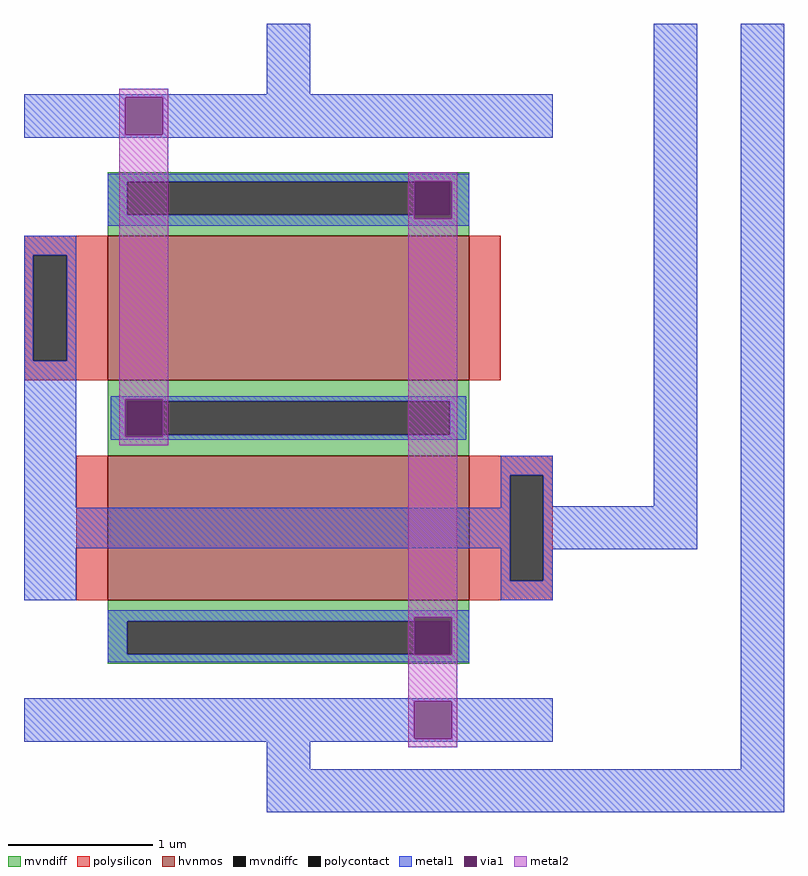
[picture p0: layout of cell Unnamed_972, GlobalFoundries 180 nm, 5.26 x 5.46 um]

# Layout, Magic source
magic
tech gf180mcuD
magscale 1 10
<< hvnmos >>
rect -500 318 0 518
rect -500 14 0 214
<< mvndiff >>
rect -500 593 0 606
rect -500 547 -473 593
rect -27 547 0 593
rect -500 518 0 547
rect -500 289 0 318
rect -500 243 -473 289
rect -27 243 0 289
rect -500 214 0 243
rect -500 -15 0 14
rect -500 -61 -473 -15
rect -27 -61 0 -15
rect -500 -74 0 -61
<< mvndiffc >>
rect -473 547 -27 593
rect -473 243 -27 289
rect -473 -61 -27 -15
<< polysilicon >>
rect -616 491 -500 518
rect -616 345 -603 491
rect -557 345 -500 491
rect -616 318 -500 345
rect 0 318 44 518
rect -544 14 -500 214
rect 0 187 116 214
rect 0 41 57 187
rect 103 41 116 187
rect 0 14 116 41
<< polycontact >>
rect -603 345 -557 491
rect 57 41 103 187
<< metal1 >>
rect -280 714 -220 812
rect -616 710 116 714
rect -616 658 -476 710
rect -424 658 116 710
rect -616 654 116 658
rect -500 594 0 604
rect -500 593 -76 594
rect -500 547 -473 593
rect -500 542 -76 547
rect -24 542 0 594
rect -500 532 0 542
rect -616 491 -544 518
rect -616 345 -603 491
rect -557 345 -544 491
rect -616 142 -544 345
rect -496 292 -4 296
rect -496 240 -476 292
rect -424 289 -4 292
rect -27 243 -4 289
rect -424 240 -4 243
rect -496 236 -4 240
rect 44 187 116 214
rect 44 142 57 187
rect -616 86 57 142
rect -616 14 -544 86
rect 44 41 57 86
rect 103 144 116 187
rect 256 144 316 812
rect 103 84 316 144
rect 103 41 116 84
rect 44 14 116 41
rect -500 -10 0 0
rect -500 -15 -76 -10
rect -500 -61 -473 -15
rect -500 -62 -76 -61
rect -24 -62 0 -10
rect -500 -72 0 -62
rect -616 -126 116 -122
rect -616 -178 -76 -126
rect -24 -178 116 -126
rect -616 -182 116 -178
rect -280 -220 -220 -182
rect 376 -220 436 812
rect -280 -280 436 -220
<< via1 >>
rect -476 658 -424 710
rect -76 593 -24 594
rect -76 547 -27 593
rect -27 547 -24 593
rect -76 542 -24 547
rect -476 289 -424 292
rect -476 243 -473 289
rect -473 243 -424 289
rect -476 240 -424 243
rect -76 -15 -24 -10
rect -76 -61 -27 -15
rect -27 -61 -24 -15
rect -76 -62 -24 -61
rect -76 -178 -24 -126
<< metal2 >>
rect -484 710 -416 722
rect -484 658 -476 710
rect -424 658 -416 710
rect -484 292 -416 658
rect -484 240 -476 292
rect -424 240 -416 292
rect -484 228 -416 240
rect -84 594 -16 606
rect -84 542 -76 594
rect -24 542 -16 594
rect -84 -10 -16 542
rect -84 -62 -76 -10
rect -24 -62 -16 -10
rect -84 -126 -16 -62
rect -84 -178 -76 -126
rect -24 -178 -16 -126
rect -84 -190 -16 -178
<< end >>
